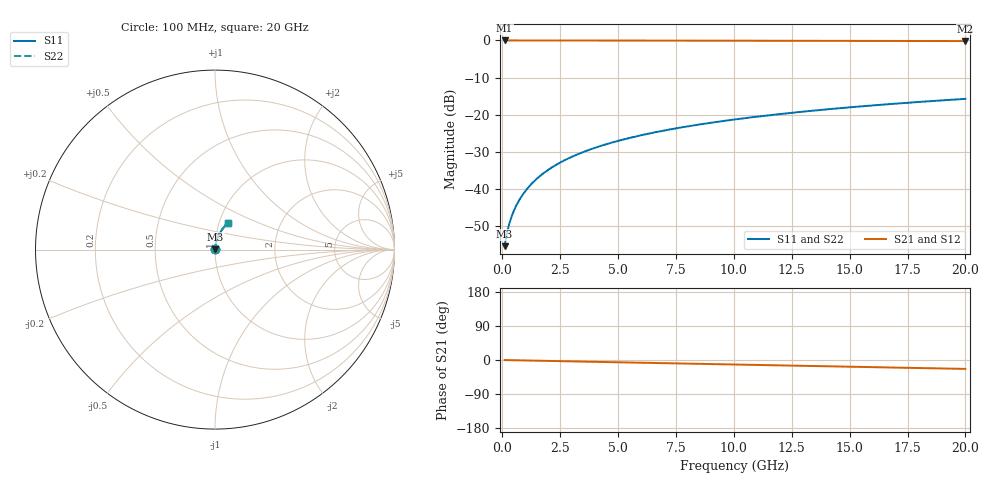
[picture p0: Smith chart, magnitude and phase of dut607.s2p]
! Touchstone file exported from HFSS 2026.1.0
!  File:  C:/ffzhzh/LocalFiles/Ansys_Project_Files/temp_train_TMRDL_607_1783008723_4048.aedt
!  Generated:  12:13:23 AM Jul  3, 2026
!  Design:  TMRDL
!  Project:  temp_train_TMRDL_607_1783008723_4048
! Variables:
!  h_bsmrdl = 2um
!  h_ox = 20um
!  h_rdl = 5um
!  h_sub = 80um
!  h_tmrdl = 4.08um
!  h_tsv = 80um
!  h_via = 3um
!  l_bsmrdl = 300um
!  l_sub = 753.8um
!  l_tmrdl = 353.8um
!  m_sub = 200um
!  pitch = 45.41um
!  r_tsv = 6um
!  s_tmrdl = 10um
!  w_bsmrdl = 18um
!  w_sub = 500um
!  w_tmrdl = 28.6um
!  x_tsv_center1 = 368.1um
!  x_tsv_center2 = 686.1um
!  x_tsv_center3 = 1068.5um
!  x_tsv_center4 = 1386.5um
!  x_tsv_center5 = 1768.9um
!  x_tsv_center6 = 2086.9um
# GHz S MA R 50.000000
! Terminal data exported
! Port[1] = TM_RDL1_1_T1
! Port[2] = TM_RDL1_1_T2
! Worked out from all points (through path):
!   200 points, 100 MHz to 20 GHz, reference 50 ohm
!   highest |S21| = -0.01 dB at 100 MHz (marker M1); lowest = -0.2 dB at 20 GHz (marker M2)
!   group delay of S21, straight-line fit = 3.26 ps
!   lowest |S11| = -55.4 dB at 100 MHz (marker M3), VSWR 1.00, Z = 50.1 + j0.108 ohm
!   |S11| at or under -10 dB: start of sweep to end of sweep
!   |S22| runs from -55.4 to -15.7 dB; largest |S21 - S12| = 2.5e-15
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0.1  0.001701 39.2  0.9987 -0.1  0.9987 -0.1  0.001701 39.2
! Gamma 0 0 0 0
! Port Impedance 50 0 50 0
0.2  0.002527 55.2  0.9986 -0.3  0.9986 -0.3  0.002528 55.2
0.3  0.003392 62.5  0.9984 -0.4  0.9984 -0.4  0.003394 62.5
0.4  0.004246 66.8  0.9984 -0.5  0.9984 -0.5  0.004251 66.8
0.5  0.005097 69.9  0.9983 -0.6  0.9983 -0.6  0.005102 69.9
0.6  0.005951 72.1  0.9983 -0.7  0.9983 -0.7  0.005957 72.1
0.8  0.007675 75.3  0.9982 -1.0  0.9982 -1.0  0.007681 75.3
1.1  0.0103 78.0  0.9981 -1.3  0.9981 -1.3  0.0103 78.0
1.3  0.01206 79.1  0.998 -1.6  0.998 -1.6  0.01207 79.1
1.6  0.01472 80.2  0.9979 -2.0  0.9979 -2.0  0.01473 80.2
2.1  0.01916 81.0  0.9977 -2.6  0.9977 -2.6  0.01916 81.0
2.7  0.02447 81.2  0.9974 -3.3  0.9974 -3.3  0.02447 81.2
3.5  0.03149 81.0  0.9969 -4.2  0.9969 -4.2  0.03149 81.0
4.2  0.03757 80.5  0.9964 -5.1  0.9964 -5.1  0.03757 80.5
5  0.04445 79.8  0.9958 -6.0  0.9958 -6.0  0.04445 79.8
5.9  0.05211 79.0  0.9951 -7.1  0.9951 -7.1  0.05211 79.0
6.8  0.05967 78.1  0.9943 -8.2  0.9943 -8.2  0.05967 78.1
8.3  0.07212 76.6  0.993 -9.9  0.993 -9.9  0.07212 76.6
10.1  0.08683 74.7  0.9913 -12.0  0.9913 -12.0  0.08683 74.7
13.4  0.1132 71.2  0.9878 -15.9  0.9878 -15.9  0.1132 71.2
16.7  0.1388 67.7  0.984 -19.7  0.984 -19.7  0.1388 67.7
20  0.1634 64.1  0.9796 -23.5  0.9796 -23.5  0.1634 64.1
